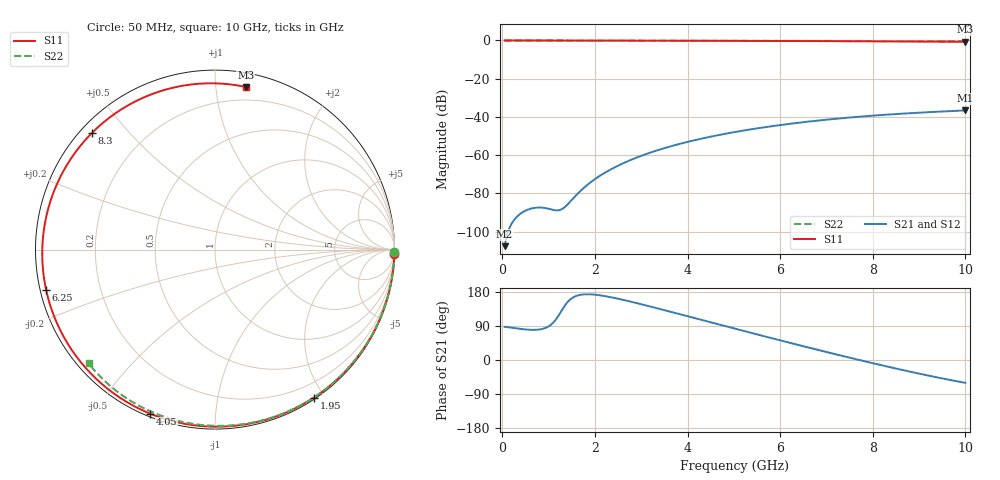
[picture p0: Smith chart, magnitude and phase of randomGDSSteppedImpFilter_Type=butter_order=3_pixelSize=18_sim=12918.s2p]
! freq	dB(S11)	phase(S11)	dB(S12)	phase(S12)
!  dB(S21)	phase(S21)	dB(S22)	phase(S22)
!S-par simulation data
#  GHz  S  DB  R 50
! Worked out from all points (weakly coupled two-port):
!   200 points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, 50 MHz to 10 GHz, reference 50 ohm
!   highest |S21| = -36.58 dB at 10 GHz (marker M1); lowest = -107.6 dB at 50 MHz (marker M2)
!   lowest |S11| = -0.7 dB at 10 GHz (marker M3), VSWR 24.72, Z = 4.95 + j60.1 ohm
!   |S11| at or under -10 dB: nowhere
!   |S22| runs from -0.5 to 0.0 dB; largest |S21 - S12| = 0
!   S11 on the Smith chart (normalised r, x): 50 MHz: 1, -78; 1.95 GHz: 0.02, -1.87; 4.05 GHz: 0.01, -0.68; 6.25 GHz: 0.02, -0.12; 8.3 GHz: 0.03, +0.40; 10 GHz: 0.10, +1.20
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0.05  -0.00 -1.5  -107.58 87.5  -107.58 87.5  -0.00 -0.8
0.8  -0.03 -23.5  -87.37 80.4  -87.37 80.4  -0.01 -12.7
1.6  -0.06 -46.4  -80.81 169.1  -80.81 169.1  -0.03 -25.2
1.65  -0.06 -47.8  -79.59 171.0  -79.59 171.0  -0.03 -26.0
1.75  -0.06 -50.6  -77.32 173.1  -77.32 173.1  -0.04 -27.5
1.95  -0.07 -56.2  -73.40 172.9  -73.40 172.9  -0.04 -30.6
2.25  -0.08 -64.5  -68.69 167.9  -68.69 167.9  -0.05 -35.2
2.6  -0.09 -73.9  -64.34 159.0  -64.34 159.0  -0.05 -40.5
3.4  -0.12 -94.9  -57.06 134.8  -57.06 134.8  -0.07 -52.4
4.05  -0.15 -111.5  -52.76 114.0  -52.76 114.0  -0.09 -61.7
5.05  -0.20 -136.4  -47.77 81.9  -47.77 81.9  -0.12 -75.7
5.65  -0.24 -151.3  -45.44 62.8  -45.44 62.8  -0.14 -83.8
6.25  -0.29 -166.4  -43.47 44.0  -43.47 44.0  -0.17 -91.7
6.7  -0.33 -178.1  -42.20 30.2  -42.20 30.2  -0.19 -97.5
7.5  -0.41 160.2  -40.30 6.1  -40.30 6.1  -0.24 -107.6
7.9  -0.45 148.7  -39.51 -5.6  -39.51 -5.6  -0.27 -112.6
8.3  -0.49 136.7  -38.81 -17.0  -38.81 -17.0  -0.30 -117.5
8.35  -0.50 135.2  -38.73 -18.4  -38.73 -18.4  -0.30 -118.1
8.8  -0.55 120.9  -38.04 -30.7  -38.04 -30.7  -0.34 -123.5
9.25  -0.61 105.9  -37.45 -42.4  -37.45 -42.4  -0.39 -129.0
9.65  -0.66 91.9  -36.97 -52.3  -36.97 -52.3  -0.43 -133.8
10  -0.70 79.3  -36.58 -60.3  -36.58 -60.3  -0.47 -138.0
